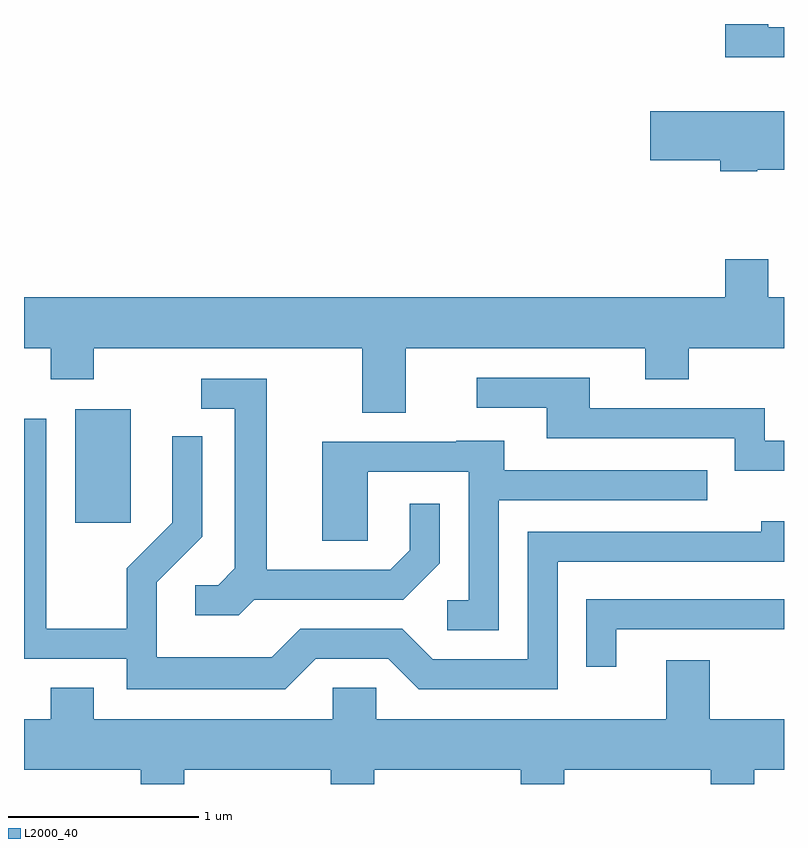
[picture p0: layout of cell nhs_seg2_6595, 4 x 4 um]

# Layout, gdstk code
import gdstk
lib = gdstk.Library(unit=1e-6, precision=1e-09)
def R(c, l, rs):  # rectangles x0, y0, x1, y1
    for r in rs: c.add(gdstk.rectangle(r[:2], r[2:], *l))
def P(c, l, *ps):  # polygons
    for p in ps: c.add(gdstk.Polygon(p, *l))
L2000_40 = (2000, 40)

nhs_seg2_6595 = lib.new_cell('nhs_seg2_6595')
R(nhs_seg2_6595, L2000_40, [(379.881,1045.176,380.174,1045.774)])
P(nhs_seg2_6595, L2000_40, [(383.611,1047.784),(383.529,1047.784),(383.529,1047.802),(383.301,1047.802),(383.301,1047.626),(383.611,1047.626)],
  [(383.47,1047.036),(383.611,1047.036),(383.611,1047.344),(382.906,1047.344),(382.906,1047.086),(383.276,1047.086),(383.276,1047.026),(383.47,1047.026)],
  [(381.619,1046.096),(382.881,1046.096),(382.881,1045.931),(383.109,1045.931),(383.109,1046.096),(383.611,1046.096),(383.611,1046.364),(383.529,1046.364),(383.529,1046.564),(383.301,1046.564),(383.301,1046.364),(379.611,1046.364),(379.611,1046.096),(379.751,1046.096),(379.751,1045.931),(379.979,1045.931),(379.979,1046.096),(381.391,1046.096),(381.391,1045.756),(381.619,1045.756)],
  [(383.611,1045.609),(383.509,1045.609),(383.509,1045.779),(382.589,1045.779),(382.589,1045.939),(381.993,1045.939),(381.993,1045.781),(382.361,1045.781),(382.361,1045.621),(383.351,1045.621),(383.351,1045.451),(383.611,1045.451)],
  [(380.822,1044.771),(381.607,1044.771),(381.799,1044.964),(381.799,1045.277),(381.641,1045.277),(381.641,1045.032),(381.539,1044.929),(380.889,1044.929),(380.889,1045.934),(380.543,1045.934),(380.543,1045.776),(380.721,1045.776),(380.721,1044.937),(380.634,1044.849),(380.513,1044.849),(380.513,1044.691),(380.742,1044.691)],
  [(381.147,1044.461),(381.529,1044.461),(381.689,1044.301),(382.419,1044.301),(382.419,1044.971),(383.611,1044.971),(383.611,1045.184),(383.491,1045.184),(383.491,1045.129),(382.261,1045.129),(382.261,1044.459),(381.762,1044.459),(381.602,1044.619),(381.064,1044.619),(380.914,1044.469),(380.309,1044.469),(380.309,1044.863),(380.549,1045.103),(380.549,1045.632),(380.391,1045.632),(380.391,1045.177),(380.151,1044.937),(380.151,1044.619),(379.729,1044.619),(379.729,1045.724),(379.611,1045.724),(379.611,1044.461),(380.151,1044.461),(380.151,1044.301),(380.987,1044.301)],
  [(382.109,1045.296),(383.208,1045.296),(383.208,1045.454),(382.139,1045.454),(382.139,1045.609),(381.885,1045.609),(381.885,1045.604),(381.181,1045.604),(381.181,1045.081),(381.419,1045.081),(381.419,1045.446),(381.951,1045.446),(381.951,1044.769),(381.838,1044.769),(381.838,1044.611),(382.109,1044.611)],
  [(382.729,1044.616),(383.611,1044.616),(383.611,1044.774),(382.571,1044.774),(382.571,1044.418),(382.729,1044.418)],
  [(380.454,1043.876),(381.226,1043.876),(381.226,1043.802),(381.454,1043.802),(381.454,1043.876),(382.226,1043.876),(382.226,1043.802),(382.454,1043.802),(382.454,1043.876),(383.226,1043.876),(383.226,1043.802),(383.454,1043.802),(383.454,1043.876),(383.611,1043.876),(383.611,1044.144),(383.219,1044.144),(383.219,1044.454),(382.991,1044.454),(382.991,1044.144),(381.464,1044.144),(381.464,1044.309),(381.236,1044.309),(381.236,1044.144),(379.979,1044.144),(379.979,1044.309),(379.751,1044.309),(379.751,1044.144),(379.611,1044.144),(379.611,1043.876),(380.226,1043.876),(380.226,1043.802),(380.454,1043.802)])

lib.write_gds('nhs_seg2_6595.gds')
